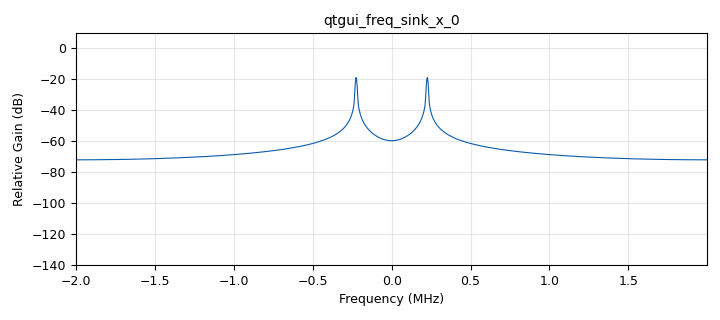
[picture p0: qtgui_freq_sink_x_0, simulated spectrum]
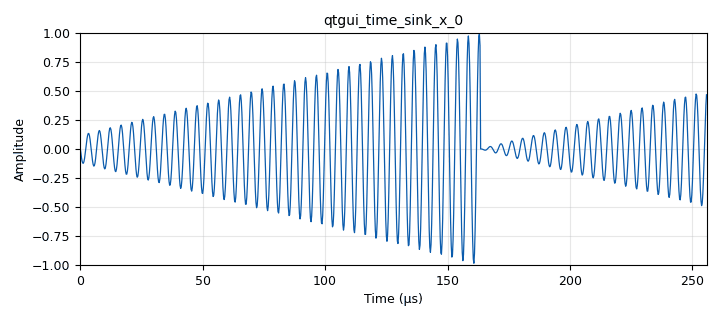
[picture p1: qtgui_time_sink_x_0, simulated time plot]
options:
  parameters:
    generate_options: qt_gui
    id: CalculoPotencia2
    output_language: python
    title: Not titled yet
  states: {}

blocks:
- name: samp_rate
  id: variable
  parameters:
    value: '4000000'
  states: {}
- name: CalculoPotenciaComunicaciones_0
  id: CalculoPotenciaComunicaciones
  parameters:
    l_vect: '1024'
  states: {}
- name: analog_sig_source_x_0
  id: analog_sig_source_x
  parameters:
    amp: '1'
    freq: '5400'
    offset: '0'
    phase: '0'
    samp_rate: samp_rate
    type: float
    waveform: analog.GR_SAW_WAVE
  states: {}
- name: analog_sig_source_x_0_0
  id: analog_sig_source_x
  parameters:
    amp: '1'
    freq: '225600'
    offset: '0'
    phase: '0'
    samp_rate: samp_rate
    type: float
    waveform: analog.GR_COS_WAVE
  states: {}
- name: blocks_multiply_xx_0
  id: blocks_multiply_xx
  parameters:
    type: float
  states: {}
- name: qtgui_freq_sink_x_0
  id: qtgui_freq_sink_x
  parameters:
    bw: samp_rate
    fc: '0'
    fftsize: '1024'
    type: float
    wintype: firdes.WIN_BLACKMAN_hARRIS
  states: {}
- name: qtgui_time_sink_x_0
  id: qtgui_time_sink_x
  parameters:
    size: '1024'
    srate: samp_rate
    type: float
  states: {}

connections:
- [analog_sig_source_x_0, '0', blocks_multiply_xx_0, '0']
- [analog_sig_source_x_0_0, '0', blocks_multiply_xx_0, '1']
- [blocks_multiply_xx_0, '0', CalculoPotenciaComunicaciones_0, '0']
- [blocks_multiply_xx_0, '0', qtgui_freq_sink_x_0, '0']
- [blocks_multiply_xx_0, '0', qtgui_time_sink_x_0, '0']

metadata:
  file_format: 1
